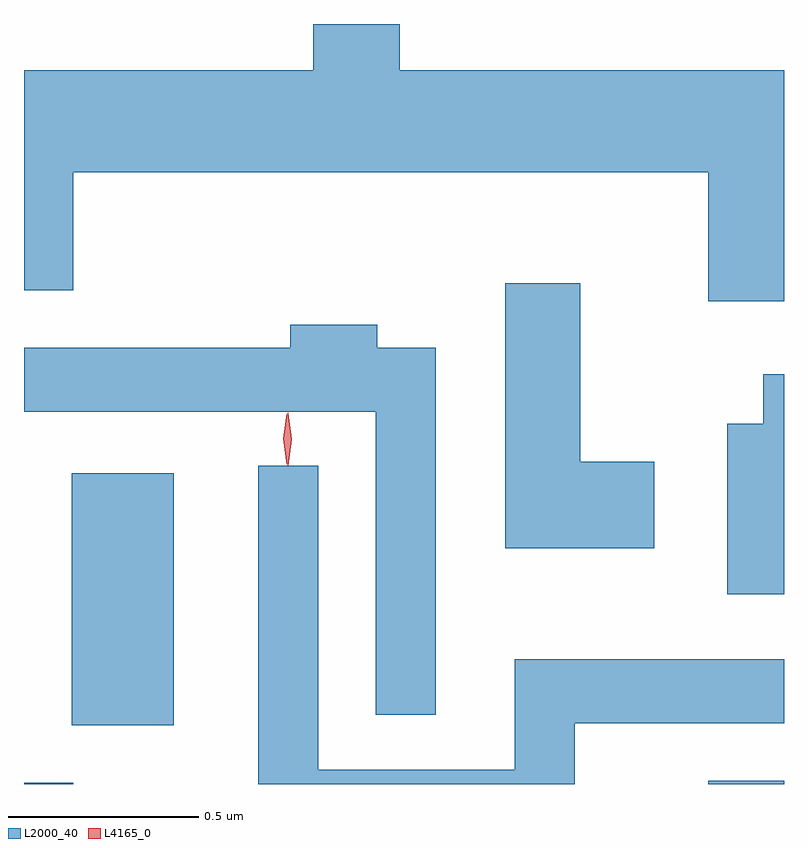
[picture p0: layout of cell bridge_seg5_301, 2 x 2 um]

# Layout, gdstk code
import gdstk
lib = gdstk.Library(unit=1e-6, precision=1e-09)
def R(c, l, rs):  # rectangles x0, y0, x1, y1
    for r in rs: c.add(gdstk.rectangle(r[:2], r[2:], *l))
def P(c, l, *ps):  # polygons
    for p in ps: c.add(gdstk.Polygon(p, *l))
L2000_40 = (2000, 40)
L4165_0 = (4165, 0)

bridge_seg5_301 = lib.new_cell('bridge_seg5_301')
R(bridge_seg5_301, L2000_40, [(663.21,1515.126,663.339,1515.129), (665.011,1515.126,665.21,1515.134), (663.336,1515.281,663.604,1515.944)])
P(bridge_seg5_301, L2000_40, [(665.21,1517.004),(664.199,1517.004),(664.199,1517.126),(663.971,1517.126),(663.971,1517.004),(663.21,1517.004),(663.21,1516.426),(663.339,1516.426),(663.339,1516.736),(665.011,1516.736),(665.011,1516.396),(665.21,1516.396)],
  [(664.869,1515.974),(664.674,1515.974),(664.674,1516.444),(664.476,1516.444),(664.476,1515.746),(664.869,1515.746)],
  [(664.294,1516.274),(664.139,1516.274),(664.139,1516.334),(663.911,1516.334),(663.911,1516.274),(663.21,1516.274),(663.21,1516.106),(664.136,1516.106),(664.136,1515.308),(664.294,1515.308)],
  [(665.21,1516.204),(665.156,1516.204),(665.156,1516.074),(665.061,1516.074),(665.061,1515.626),(665.21,1515.626)],
  [(664.659,1515.286),(665.21,1515.286),(665.21,1515.454),(664.501,1515.454),(664.501,1515.164),(663.984,1515.164),(663.984,1515.963),(663.826,1515.963),(663.826,1515.126),(664.659,1515.126)])
P(bridge_seg5_301, L4165_0, [(663.904,1515.964),(663.895,1516.033),(663.904,1516.102),(663.905,1516.103),(663.905,1516.102),(663.915,1516.033),(663.905,1515.964),(663.905,1515.964)],
  [(663.902,1515.967),(663.902,1515.967),(663.892,1516.034),(663.901,1516.1),(663.902,1516.1),(663.902,1516.1),(663.912,1516.034),(663.902,1515.967)])

lib.write_gds('bridge_seg5_301.gds')
